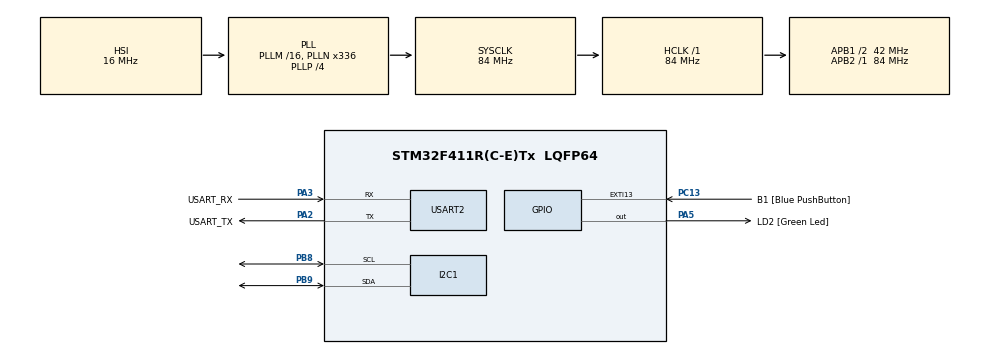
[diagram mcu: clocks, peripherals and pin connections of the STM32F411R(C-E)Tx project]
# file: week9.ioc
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I2C1.I2C_Mode=I2C_Fast
Mcu.Family=STM32F4
Mcu.Name=STM32F411R(C-E)Tx
Mcu.Package=LQFP64
NVIC.EXTI15_10_IRQn=true\:0\:0\:false\:false\:true\:true\:true
NVIC.I2C1_ER_IRQn=true\:0\:0\:false\:false\:true\:true\:true
NVIC.I2C1_EV_IRQn=true\:0\:0\:false\:false\:true\:true\:true
NVIC.PriorityGroup=NVIC_PRIORITYGROUP_0
PA13.GPIO_Label=TMS
PA13.Mode=Serial_Wire
PA13.Signal=SYS_JTMS-SWDIO
PA14.GPIO_Label=TCK
PA14.Mode=Serial_Wire
PA14.Signal=SYS_JTCK-SWCLK
PA2.GPIO_Label=USART_TX
PA2.Mode=Asynchronous
PA2.Signal=USART2_TX
PA3.GPIO_Label=USART_RX
PA3.Mode=Asynchronous
PA3.Signal=USART2_RX
PA5.GPIO_Label=LD2 [Green Led]
PA5.Signal=GPIO_Output
PB3.GPIO_Label=SWO
PB3.Signal=SYS_JTDO-SWO
PB8.GPIO_Pu=GPIO_PULLUP
PB8.Mode=I2C
PB8.Signal=I2C1_SCL
PB9.GPIO_Mode=GPIO_MODE_AF_OD
PB9.GPIO_Pu=GPIO_PULLUP
PB9.GPIO_Speed=GPIO_SPEED_FREQ_VERY_HIGH
PB9.Mode=I2C
PB9.Signal=I2C1_SDA
PC13-ANTI_TAMP.GPIO_Label=B1 [Blue PushButton]
PC13-ANTI_TAMP.GPIO_ModeDefaultEXTI=GPIO_MODE_IT_FALLING
PC13-ANTI_TAMP.Signal=GPXTI13
PC14-OSC32_IN.Mode=LSE-External-Oscillator
PC14-OSC32_IN.Signal=RCC_OSC32_IN
PC15-OSC32_OUT.Mode=LSE-External-Oscillator
PC15-OSC32_OUT.Signal=RCC_OSC32_OUT
PH0\ -\ OSC_IN.Mode=HSE-External-Clock-Source
PH0\ -\ OSC_IN.Signal=RCC_OSC_IN
PH1\ -\ OSC_OUT.Mode=HSE-External-Clock-Source
PH1\ -\ OSC_OUT.Signal=RCC_OSC_OUT
ProjectManager.HeapSize=0x200
ProjectManager.StackSize=0x400
ProjectManager.TargetToolchain=STM32CubeIDE
RCC.48MHZClocksFreq_Value=84000000
RCC.AHBFreq_Value=84000000
RCC.APB1CLKDivider=RCC_HCLK_DIV2
RCC.APB1Freq_Value=42000000
RCC.APB1TimFreq_Value=84000000
RCC.APB2Freq_Value=84000000
RCC.APB2TimFreq_Value=84000000
RCC.CortexFreq_Value=84000000
RCC.FLatency-AdvancedSettings=FLASH_LATENCY_2
RCC.HCLKFreq_Value=84000000
RCC.HSE_VALUE=8000000
RCC.HSI_VALUE=16000000
RCC.PLLN=336
RCC.PLLP=RCC_PLLP_DIV4
RCC.SYSCLKFreq_VALUE=84000000
RCC.SYSCLKSource=RCC_SYSCLKSOURCE_PLLCLK
RCC.VCOOutputFreq_Value=336000000
USART2.VirtualMode=VM_ASYNC
board=NUCLEO-F411RE

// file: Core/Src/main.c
/* USER CODE BEGIN Header */
/**
  ******************************************************************************
  * @file           : main.c
  * @brief          : Main program body
  ******************************************************************************
  * @attention
  *
  * Copyright (c) 2022 STMicroelectronics.
  * All rights reserved.
  *
  * This software is licensed under terms that can be found in the LICENSE file
  * in the root directory of this software component.
  * If no LICENSE file comes with this software, it is provided AS-IS.
  *
  ******************************************************************************
  */
/* USER CODE END Header */
#include "main.h"

/* USER CODE BEGIN PD */
#define EEPROM_ADDR 0b10100000
#define IOEXPD_ADDR 0b01000000
/* USER CODE END PD */

I2C_HandleTypeDef hi2c1;

UART_HandleTypeDef huart2;

/* USER CODE BEGIN PV */
uint8_t eepromExampleWriteFlag = 0;
uint8_t eepromExampleReadFlag = 0;
uint8_t IOExpdrExampleWriteFlag = 0;
uint8_t IOExpdrExampleReadFlag = 0;
uint8_t eepromDataReadBack;
uint8_t IOExpdrDataReadBack;
uint8_t IOExpdrDataWrite = 0b01010101;
int ack =0;
int count =0;
int test = 1;
/* USER CODE END PV */

void SystemClock_Config(void);
static void MX_GPIO_Init(void);
static void MX_USART2_UART_Init(void);
static void MX_I2C1_Init(void);
/* USER CODE BEGIN PFP */
void EEPROMWriteExample(uint8_t Wdata);
void EEPROMReadExample(uint8_t *Rdata);
void IOExpenderInit();
void IOExpenderReadPinA(uint8_t *Rdata);
void IOExpenderWritePinB(uint8_t Wdata);
/* USER CODE END PFP */

int main(void)
{
  /* USER CODE BEGIN 1 */
	static enum {ZERO,ONE} State = ZERO;
  /* USER CODE END 1 */

  /* MCU Configuration--------------------------------------------------------*/

  /* Reset of all peripherals, Initializes the Flash interface and the Systick. */
  HAL_Init();

  /* Configure the system clock */
  SystemClock_Config();

  /* Initialize all configured peripherals */
  MX_GPIO_Init();
  MX_USART2_UART_Init();
  MX_I2C1_Init();
  /* USER CODE BEGIN 2 */
  HAL_Delay(100);
  IOExpenderInit();
  /* USER CODE END 2 */

  /* Infinite loop */
  /* USER CODE BEGIN WHILE */
  while (1)
  {
	  if(ack ==1){
		  State = ONE;

	  }
	  switch(State){
	  case ZERO:
		  if(IOExpdrExampleReadFlag == 1 && count == 1){
			  	  IOExpenderReadPinA(&IOExpdrDataReadBack);
			  	  test =2;
			  	  State = ONE;
		  }
		  else if(IOExpdrExampleWriteFlag == 1 && test == 2){
			  	  IOExpenderWritePinB(IOExpdrDataReadBack);
			  	  test = 3;
			  	  State = ONE;
		  }
		  else if( eepromExampleWriteFlag == 1 &&  test == 3){
			  	  EEPROMWriteExample(IOExpdrDataReadBack);
			  	  test = 4;
			  	  State = ONE;
		  }
		  else if(eepromExampleReadFlag == 1 && test == 4 ){
			  	  EEPROMReadExample(&eepromDataReadBack);
			  	  test = 1;
		  }
		  break;
	  case ONE:
		  count = 1;
		  ack = 0;
		  if(count == 1 && test ==1){
			  IOExpdrExampleReadFlag = 1;
			  State =ZERO;
		  }
		  else if(test == 2){
			  IOExpdrExampleWriteFlag = 1;
			  State =ZERO;
		  }
		  else if(test == 3){
			  eepromExampleWriteFlag = 1;
			  State =ZERO;
		  }
		  else if(test == 4){
			  eepromExampleReadFlag = 1;
			  State =ZERO;
		  }
		  break;
	  }

//	IOExpenderWritePinB(IOExpdrDataWrite);

    /* USER CODE END WHILE */

  }
}

void SystemClock_Config(void)
{
  RCC_OscInitTypeDef RCC_OscInitStruct = {0};
  RCC_ClkInitTypeDef RCC_ClkInitStruct = {0};

  /** Configure the main internal regulator output voltage
  */
  __HAL_RCC_PWR_CLK_ENABLE();
  __HAL_PWR_VOLTAGESCALING_CONFIG(PWR_REGULATOR_VOLTAGE_SCALE1);
  /** Initializes the RCC Oscillators according to the specified parameters
  * in the RCC_OscInitTypeDef structure.
  */
  RCC_OscInitStruct.OscillatorType = RCC_OSCILLATORTYPE_HSI;
  RCC_OscInitStruct.HSIState = RCC_HSI_ON;
  RCC_OscInitStruct.HSICalibrationValue = RCC_HSICALIBRATION_DEFAULT;
  RCC_OscInitStruct.PLL.PLLState = RCC_PLL_ON;
  RCC_OscInitStruct.PLL.PLLSource = RCC_PLLSOURCE_HSI;
  RCC_OscInitStruct.PLL.PLLM = 16;
  RCC_OscInitStruct.PLL.PLLN = 336;
  RCC_OscInitStruct.PLL.PLLP = RCC_PLLP_DIV4;
  RCC_OscInitStruct.PLL.PLLQ = 4;
  if (HAL_RCC_OscConfig(&RCC_OscInitStruct) != HAL_OK)
  {
    Error_Handler();
  }
  /** Initializes the CPU, AHB and APB buses clocks
  */
  RCC_ClkInitStruct.ClockType = RCC_CLOCKTYPE_HCLK|RCC_CLOCKTYPE_SYSCLK
                              |RCC_CLOCKTYPE_PCLK1|RCC_CLOCKTYPE_PCLK2;
  RCC_ClkInitStruct.SYSCLKSource = RCC_SYSCLKSOURCE_PLLCLK;
  RCC_ClkInitStruct.AHBCLKDivider = RCC_SYSCLK_DIV1;
  RCC_ClkInitStruct.APB1CLKDivider = RCC_HCLK_DIV2;
  RCC_ClkInitStruct.APB2CLKDivider = RCC_HCLK_DIV1;

  if (HAL_RCC_ClockConfig(&RCC_ClkInitStruct, FLASH_LATENCY_2) != HAL_OK)
  {
    Error_Handler();
  }
}

static void MX_I2C1_Init(void)
{

  hi2c1.Instance = I2C1;
  hi2c1.Init.ClockSpeed = 400000;
  hi2c1.Init.DutyCycle = I2C_DUTYCYCLE_2;
  hi2c1.Init.OwnAddress1 = 0;
  hi2c1.Init.AddressingMode = I2C_ADDRESSINGMODE_7BIT;
  hi2c1.Init.DualAddressMode = I2C_DUALADDRESS_DISABLE;
  hi2c1.Init.OwnAddress2 = 0;
  hi2c1.Init.GeneralCallMode = I2C_GENERALCALL_DISABLE;
  hi2c1.Init.NoStretchMode = I2C_NOSTRETCH_DISABLE;
  if (HAL_I2C_Init(&hi2c1) != HAL_OK)
  {
    Error_Handler();
  }

}

static void MX_USART2_UART_Init(void)
{

  huart2.Instance = USART2;
  huart2.Init.BaudRate = 115200;
  huart2.Init.WordLength = UART_WORDLENGTH_8B;
  huart2.Init.StopBits = UART_STOPBITS_1;
  huart2.Init.Parity = UART_PARITY_NONE;
  huart2.Init.Mode = UART_MODE_TX_RX;
  huart2.Init.HwFlowCtl = UART_HWCONTROL_NONE;
  huart2.Init.OverSampling = UART_OVERSAMPLING_16;
  if (HAL_UART_Init(&huart2) != HAL_OK)
  {
    Error_Handler();
  }

}

static void MX_GPIO_Init(void)
{
  GPIO_InitTypeDef GPIO_InitStruct = {0};

  /* GPIO Ports Clock Enable */
  __HAL_RCC_GPIOC_CLK_ENABLE();
  __HAL_RCC_GPIOH_CLK_ENABLE();
  __HAL_RCC_GPIOA_CLK_ENABLE();
  __HAL_RCC_GPIOB_CLK_ENABLE();

  /*Configure GPIO pin Output Level */
  HAL_GPIO_WritePin(LD2_GPIO_Port, LD2_Pin, GPIO_PIN_RESET);

  /*Configure GPIO pin : B1_Pin */
  GPIO_InitStruct.Pin = B1_Pin;
  GPIO_InitStruct.Mode = GPIO_MODE_IT_FALLING;
  GPIO_InitStruct.Pull = GPIO_NOPULL;
  HAL_GPIO_Init(B1_GPIO_Port, &GPIO_InitStruct);

  /*Configure GPIO pin : LD2_Pin */
  GPIO_InitStruct.Pin = LD2_Pin;
  GPIO_InitStruct.Mode = GPIO_MODE_OUTPUT_PP;
  GPIO_InitStruct.Pull = GPIO_NOPULL;
  GPIO_InitStruct.Speed = GPIO_SPEED_FREQ_LOW;
  HAL_GPIO_Init(LD2_GPIO_Port, &GPIO_InitStruct);

  /* EXTI interrupt init*/
  HAL_NVIC_SetPriority(EXTI15_10_IRQn, 0, 0);
  HAL_NVIC_EnableIRQ(EXTI15_10_IRQn);

}

/* USER CODE BEGIN 4 */
void EEPROMWriteExample(uint8_t Wdata) {
	if (eepromExampleWriteFlag && hi2c1.State == HAL_I2C_STATE_READY) {

		static uint8_t data;
		data = Wdata;
		HAL_I2C_Mem_Write_IT(&hi2c1, EEPROM_ADDR, 0x22, I2C_MEMADD_SIZE_16BIT,&data,1);
		eepromExampleWriteFlag = 0;
	}
}
void EEPROMReadExample(uint8_t *Rdata) {
	if (eepromExampleReadFlag && hi2c1.State == HAL_I2C_STATE_READY) {

		HAL_I2C_Mem_Read_IT(&hi2c1, EEPROM_ADDR, 0x22, I2C_MEMADD_SIZE_16BIT,
				Rdata,1);
		eepromExampleReadFlag = 0;
	}
}
void IOExpenderInit() {
	//Init All
	static uint8_t Setting[0x16] = { 0xFF, 0x00, 0x00, 0x00, 0x00, 0x00, 0x00,
			0x00, 0x00, 0x00, 0x00, 0x00, 0xFF, 0x00, 0x00, 0x00, 0x00, 0x00,
			0x00, 0x00, 0x00, 0xFF };
	HAL_I2C_Mem_Write(&hi2c1, IOEXPD_ADDR, 0x00, I2C_MEMADD_SIZE_8BIT, Setting,
			0x16, 100);
}
void IOExpenderReadPinA(uint8_t *Rdata) {
	if (IOExpdrExampleReadFlag && hi2c1.State == HAL_I2C_STATE_READY) {
		HAL_I2C_Mem_Read_IT(&hi2c1, IOEXPD_ADDR, 0x12, I2C_MEMADD_SIZE_8BIT,
				Rdata, 1);
		IOExpdrExampleReadFlag =0;
	}
}
void IOExpenderWritePinB(uint8_t Wdata) {
	if (IOExpdrExampleWriteFlag && hi2c1.State == HAL_I2C_STATE_READY) {
		static uint8_t data;
		data = Wdata;
		HAL_I2C_Mem_Write_IT(&hi2c1, IOEXPD_ADDR, 0x15, I2C_MEMADD_SIZE_8BIT,
				&data, 1);
		IOExpdrExampleWriteFlag=0;
	}
}
void HAL_GPIO_EXTI_Callback(uint16_t GPIO_Pin){
	if(GPIO_Pin == GPIO_PIN_13){
		ack = 1;
	}
}
/* USER CODE END 4 */

void Error_Handler(void)
{
  __disable_irq();
  while (1)
  {
  }
}
